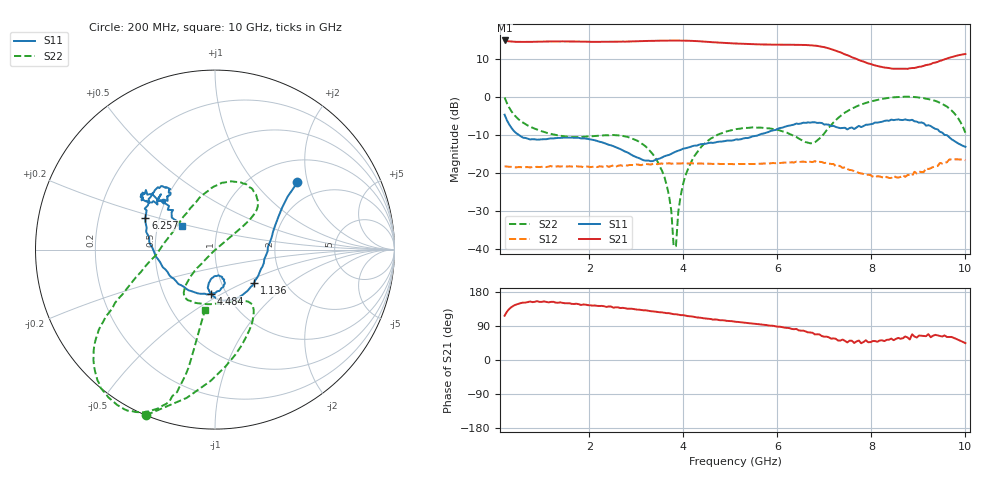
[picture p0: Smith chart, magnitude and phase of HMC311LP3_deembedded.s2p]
!Hittite Microwave Corporation
!12 Elizabeth Drive
!Chelmsford, MA 01824
!Tel: 978-250-3343
!Fax: 978-250-3373
!Device: HMC331LP3, DC-6 GHz InGaP HBT Gain Block MMIc Amplifier in Leadless LP3 SMT Package
!Misc: Vs=5V, Room
# MHZ S MA R 50
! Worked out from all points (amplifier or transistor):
!   200 points, 200 MHz to 10 GHz, reference 50 ohm
!   highest |S21| = 15.0 dB at 200 MHz (marker M1)
!   |S21| within 3 dB of that: start of sweep to 7.309 GHz
!   unconditionally stable (mu >= 1): 520.8 MHz to 998.8 MHz; 3.555 GHz to 6.493 GHz
!   at 1.825 GHz: K = 0.91, MSG = 16.5 dB, |S12| = -18.2 dB
!   at 5.125 GHz: K = 1.03, MAG = 14.9 dB, |S12| = -17.6 dB
!   at 10 GHz: K = 0.96, MSG = 14.0 dB, |S12| = -16.5 dB
!   S11 on the Smith chart (normalised r, x): 200 MHz: 1.50, +1.73; 1.136 GHz: 1.42, -0.58; 4.484 GHz: 0.85, -0.44; 6.257 GHz: 0.42, +0.18; 10 GHz: 0.67, +0.18
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200  0.593 39.2  5.632 116.8  0.124 -59.0  1 -112.6
298.492  0.439 31.8  5.479 134.8  0.122 -40.2  0.732 -91.9
544.724  0.308 7.4  5.394 150.3  0.121 -21.6  0.488 -66.9
889.447  0.278 -22.7  5.421 155.3  0.122 -12.1  0.378 -56.2
1135.678  0.286 -40.7  5.453 152.0  0.123 -9.1  0.337 -58.6
1874.372  0.289 -79.1  5.437 146.5  0.121 -4.6  0.303 -92.0
3499.497  0.157 -75.4  5.593 125.9  0.134 1.6  0.124 -134.0
3844.221  0.194 -73.6  5.623 120.7  0.135 1.0  0.011 30.9
4041.206  0.214 -77.9  5.599 117.4  0.135 1.0  0.092 38.9
4484.422  0.246 -95.6  5.42 109.4  0.135 0.5  0.255 40.7
5124.623  0.28 -136.8  5.131 100.7  0.132 1.9  0.383 53.4
6257.286  0.426 155.6  4.948 84.2  0.139 2.0  0.331 96.2
6749.749  0.471 135.4  4.839 71.8  0.141 -3.1  0.25 150.2
7291.457  0.402 128.0  4.018 51.4  0.127 -10.6  0.536 -156.2
7783.92  0.407 142.0  3.031 44.2  0.1 -8.7  0.807 -144.2
8374.874  0.492 146.1  2.442 53.7  0.087 -0.8  0.987 -130.7
8818.09  0.5 141.6  2.422 54.2  0.096 18.8  1.023 -119.6
8867.337  0.508 139.2  2.441 67.9  0.093 16.5  1.021 -118.5
9212.06  0.431 134.4  2.701 68.4  0.114 26.6  0.952 -110.6
9261.307  0.421 139.6  2.746 60.0  0.117 22.0  0.934 -109.3
9704.523  0.282 143.5  3.398 60.8  0.153 23.7  0.676 -102.7
10000  0.224 144.7  3.731 44.5  0.149 29.9  0.343 -99.5
